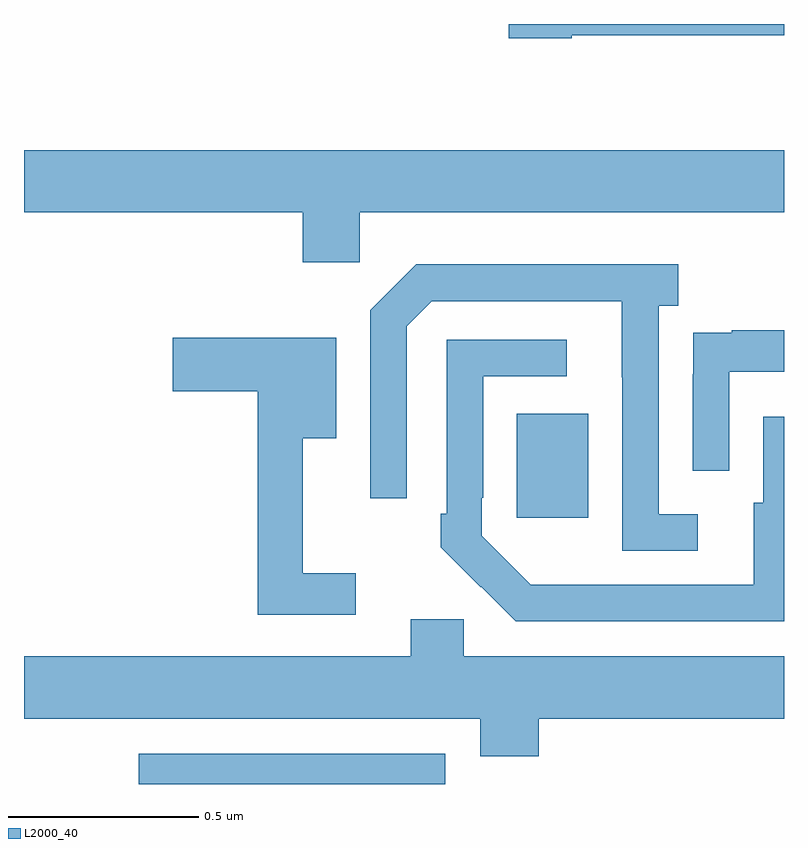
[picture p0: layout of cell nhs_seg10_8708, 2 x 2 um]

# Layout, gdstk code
import gdstk
lib = gdstk.Library(unit=1e-6, precision=1e-09)
def R(c, l, rs):  # rectangles x0, y0, x1, y1
    for r in rs: c.add(gdstk.rectangle(r[:2], r[2:], *l))
def P(c, l, *ps):  # polygons
    for p in ps: c.add(gdstk.Polygon(p, *l))
L2000_40 = (2000, 40)

nhs_seg10_8708 = lib.new_cell('nhs_seg10_8708')
R(nhs_seg10_8708, L2000_40, [(220.302,1277.5,221.109,1277.58), (221.297,1278.201,221.485,1278.475)])
P(nhs_seg10_8708, L2000_40, [(221.442,1279.47),(222,1279.47),(222,1279.5),(221.276,1279.5),(221.276,1279.462),(221.442,1279.462)],
  [(220.884,1279.004),(222,1279.004),(222,1279.168),(220,1279.168),(220,1279.004),(220.733,1279.004),(220.733,1278.873),(220.884,1278.873)],
  [(221.773,1278.21),(221.67,1278.21),(221.67,1278.758),(221.722,1278.758),(221.722,1278.868),(221.032,1278.868),(220.911,1278.747),(220.911,1278.252),(221.007,1278.252),(221.007,1278.705),(221.073,1278.771),(221.573,1278.771),(221.573,1278.571),(221.574,1278.571),(221.574,1278.114),(221.773,1278.114)],
  [(221.856,1278.585),(222,1278.585),(222,1278.694),(221.863,1278.694),(221.863,1278.687),(221.761,1278.687),(221.761,1278.578),(221.76,1278.578),(221.76,1278.324),(221.856,1278.324)],
  [(220.873,1278.055),(220.733,1278.055),(220.733,1278.41),(220.822,1278.41),(220.822,1278.675),(220.392,1278.675),(220.392,1278.533),(220.615,1278.533),(220.615,1277.946),(220.873,1277.946)],
  [(222,1278.466),(221.945,1278.466),(221.945,1278.24),(221.921,1278.24),(221.921,1278.024),(221.437,1278.024),(221.437,1278.025),(221.334,1278.025),(221.205,1278.153),(221.205,1278.253),(221.208,1278.253),(221.208,1278.573),(221.428,1278.573),(221.428,1278.669),(221.112,1278.669),(221.112,1278.211),(221.097,1278.211),(221.097,1278.123),(221.202,1278.018),(221.203,1278.019),(221.294,1277.928),(222,1277.928)],
  [(221.354,1277.672),(222,1277.672),(222,1277.836),(221.157,1277.836),(221.157,1277.934),(221.018,1277.934),(221.018,1277.836),(220,1277.836),(220,1277.672),(221.201,1277.672),(221.201,1277.573),(221.354,1277.573)])

lib.write_gds('nhs_seg10_8708.gds')
